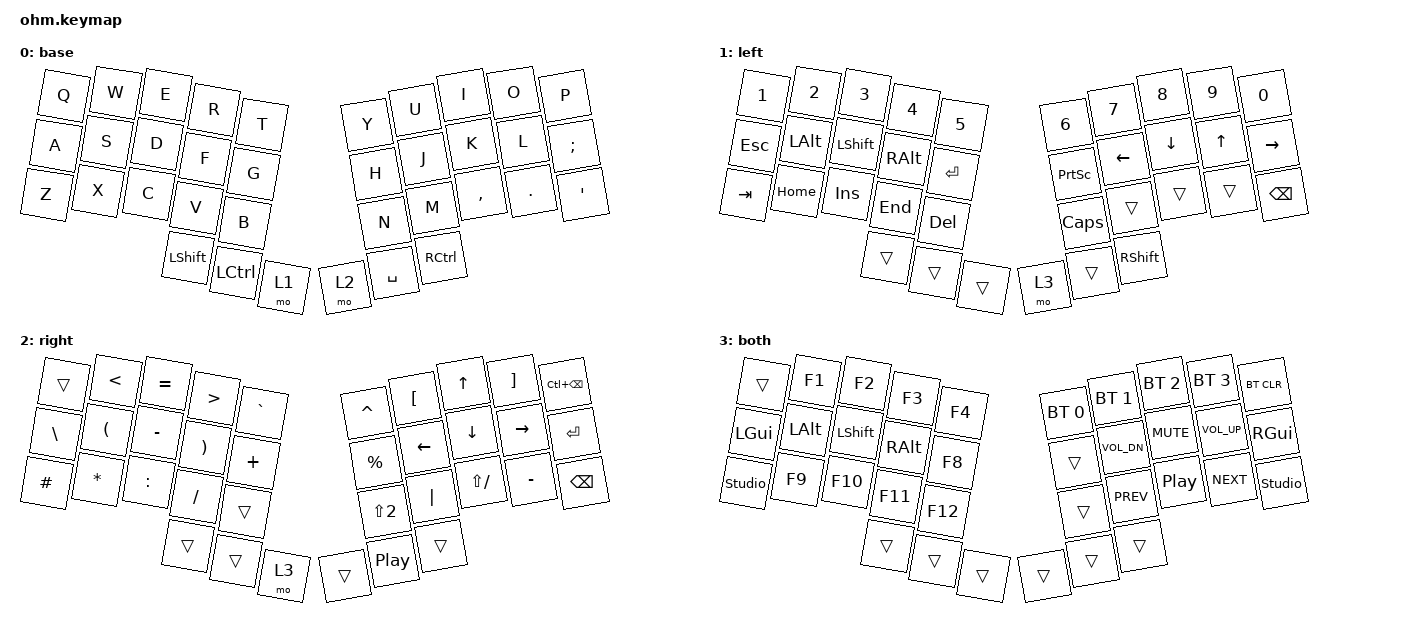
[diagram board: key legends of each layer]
#include <behaviors.dtsi>
#include "ohm-layouts.dtsi"
#include <dt-bindings/zmk/keys.h>
#include <dt-bindings/zmk/bt.h>
#include <dt-bindings/zmk/ext_power.h>
#include <dt-bindings/zmk/outputs.h>

/ {
    keymap {
        compatible = "zmk,keymap";

        base {
            // ╭─────────────┬─────────────┬─────────────┬─────────────┬─────────────╮   ╭─────────────┬─────────────┬─────────────┬─────────────┬─────────────╮
            // │      Q      │      W      │      E      │      R      │      T      │   │      Y      │      U      │      I      │      O      │      P      │
            // │      A      │      S      │      D      │      F      │      G      │   │      H      │      J      │      K      │      L      │      ;      │
            // │      Z      │      X      │      C      │      V      │      B      │   │      N      │      M      │      ,      │      .      │      '      │
            // ╰─────────────┴─────────────┼─────────────┼─────────────┼─────────────╯   ╰─────────────┼─────────────┼─────────────┼─────────────┴─────────────╯
            //                             │    LSHFT    │    LCTRL    │    NAV      │   │    SYM      │    SPACE    │    RCTRL    │
            //                             ╰─────────────┴─────────────┴─────────────╯   ╰─────────────┴─────────────┴─────────────╯
            bindings = <
  &kp Q          &kp W          &kp E          &kp R          &kp T              &kp Y          &kp U          &kp I          &kp O          &kp P
  &kp A          &kp S          &kp D          &kp F          &kp G              &kp H          &kp J          &kp K          &kp L          &kp SEMICOLON
  &kp Z          &kp X          &kp C          &kp V          &kp B              &kp N          &kp M          &kp COMMA      &kp DOT        &kp SQT
                                &kp LSHFT      &kp LCTRL      &mo 1              &mo 2          &kp SPACE      &kp RCTRL
            >;

            display-name = "base";
        };

        left {
            // ╭─────────────┬─────────────┬─────────────┬─────────────┬─────────────╮   ╭─────────────┬─────────────┬─────────────┬─────────────┬─────────────╮
            // │      1      │      2      │      3      │      4      │      5      │   │      6      │      7      │      8      │      9      │      0      │
            // │     ESC     │     ALT     │    SHFT     │    RALT     │    ENTER    │   │   PRTSCR    │    LEFT     │    DOWN     │     UP      │    RIGHT    │
            // │     TAB     │    HOME     │     INS     │     END     │     DEL     │   │    CAPS     │             │             │             │   BSPC      │
            // ╰─────────────┴─────────────┼─────────────┼─────────────┼─────────────╯   ╰─────────────┼─────────────┼─────────────┼─────────────┴─────────────╯
            //                             │             │             │             │   │     ADJ     │             │    RSHFT    │
            //                             ╰─────────────┴─────────────┴─────────────╯   ╰─────────────┴─────────────┴─────────────╯
            bindings = <
  &kp N1         &kp N2         &kp N3         &kp N4         &kp N5             &kp N6          &kp N7        &kp N8         &kp N9         &kp N0
  &kp ESC        &kp LALT       &kp LSHFT      &kp RALT       &kp ENTER          &kp PRINTSCREEN &kp LEFT      &kp DOWN       &kp UP         &kp RIGHT
  &kp TAB        &kp HOME       &kp INS        &kp END        &kp DELETE         &kp CAPS        &trans        &trans         &trans         &kp BACKSPACE
                                &trans         &trans         &trans             &mo 3           &trans        &kp RSHFT
            >;

            display-name = "left";
        };

        right {
            // ╭─────────────┬─────────────┬─────────────┬─────────────┬─────────────╮   ╭─────────────┬─────────────┬─────────────┬─────────────┬─────────────╮
            // │             │      <      │      =      │      >      │      `      │   │      ^      │      [      │     UP      │      ]      │   CTL+BSPC  │
            // │      \      │      (      │      -      │      )      │      +      │   │      %      │    LEFT     │    DOWN     │    RIGHT    │    ENTER    │
            // │      #      │      *      │      :      │      /      │             │   │      @      │      |      │      ?      │      -      │    BSPC     │
            // ╰─────────────┴─────────────┼─────────────┼─────────────┼─────────────╯   ╰─────────────┼─────────────┼─────────────┼─────────────┴─────────────╯
            //                             │             │             │     ADJ     │   │             │  PLAY/PAUSE │             │
            //                             ╰─────────────┴─────────────┴─────────────╯   ╰─────────────┴─────────────┴─────────────╯
            bindings = <
  &trans          &kp LT         &kp EQUAL      &kp GT        &kp GRAVE          &kp CARET      &kp LBKT       &kp UP         &kp RBKT       &kp LC(BSPC)
  &kp BSLH       &kp LPAR       &kp MINUS      &kp RPAR       &kp PLUS           &kp PRCNT      &kp LEFT       &kp DOWN       &kp RIGHT      &kp ENTER
  &kp HASH       &kp STAR       &kp COLON      &kp FSLH       &trans             &kp LS(N2)     &kp PIPE       &kp LS(FSLH)   &kp MINUS      &kp BACKSPACE
                                &trans         &trans         &mo 3              &trans         &kp C_PP       &trans
            >;

            display-name = "right";
        };

        both {
            // ╭─────────────┬─────────────┬─────────────┬─────────────┬─────────────╮   ╭─────────────┬─────────────┬─────────────┬─────────────┬─────────────╮
            // │             │     F1      │     F2      │     F3      │     F4      │   │    BT 0     │    BT 1     │    BT 2     │    BT 3     │   BT CLR    │
            // │     GUI     │     ALT     │    SHFT     │    RALT     │     F8      │   │             │   VOL DN    │    MUTE     │   VOL UP    │    RGUI     │
            // │   UNLOCK    │     F9      │     F10     │     F11     │     F12     │   │             │    PREV     │  PLAY/PAUSE │    NEXT     │   UNLOCK    │
            // ╰─────────────┴─────────────┼─────────────┼─────────────┼─────────────╯   ╰─────────────┼─────────────┼─────────────┼─────────────┴─────────────╯
            //                             │             │             │             │   │             │             │             │
            //                             ╰─────────────┴─────────────┴─────────────╯   ╰─────────────┴─────────────┴─────────────╯
            bindings = <
  &trans         &kp F1         &kp F2         &kp F3         &kp F4             &bt BT_SEL 0   &bt BT_SEL 1   &bt BT_SEL 2   &bt BT_SEL 3   &bt BT_CLR
  &kp LGUI       &kp LALT       &kp LSHFT      &kp RALT       &kp F8             &trans         &kp C_VOL_DN   &kp C_MUTE     &kp C_VOL_UP   &kp RGUI
  &studio_unlock &kp F9         &kp F10        &kp F11        &kp F12            &trans         &kp C_PREV     &kp C_PP       &kp C_NEXT     &studio_unlock
                                &trans         &trans         &trans             &trans         &trans         &trans
            >;

            display-name = "both";
        };
    };
};
